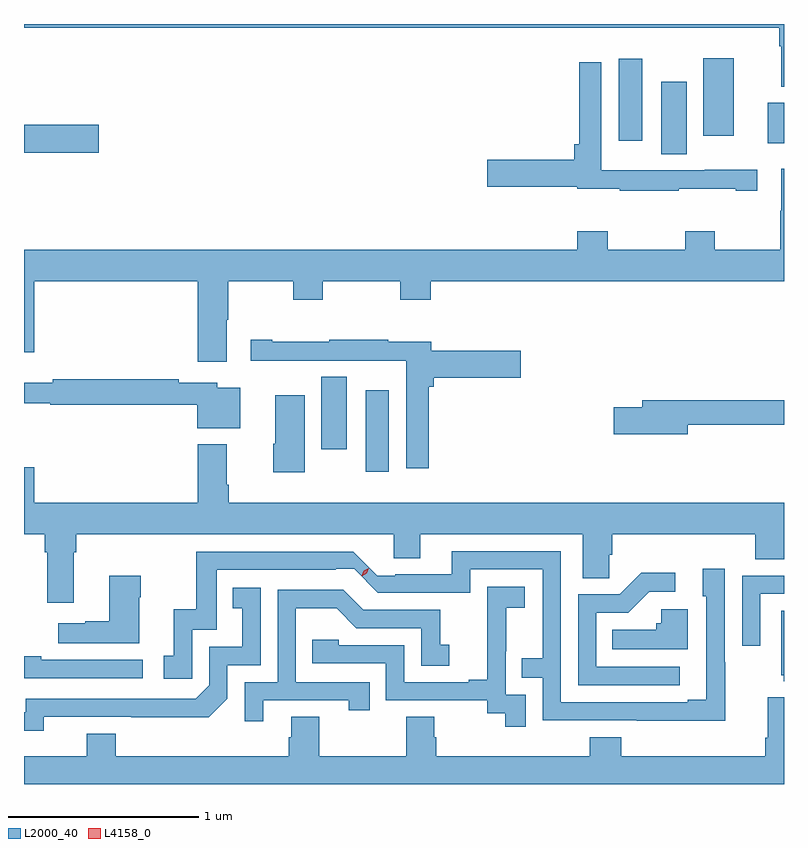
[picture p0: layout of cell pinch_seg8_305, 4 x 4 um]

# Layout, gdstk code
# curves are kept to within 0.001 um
import gdstk
lib = gdstk.Library(unit=1e-6, precision=1e-09)
def R(c, l, rs):  # rectangles x0, y0, x1, y1
    for r in rs: c.add(gdstk.rectangle(r[:2], r[2:], *l))
def P(c, l, *ps):  # polygons
    for p in ps: c.add(gdstk.Polygon(p, *l))
L2000_40 = (2000, 40)
L4158_0 = (4158, 0)

pinch_seg8_305 = lib.new_cell('pinch_seg8_305')
R(pinch_seg8_305, L2000_40, [(514.568,1131.48,514.69,1131.91), (514.334,1131.6,514.468,1131.98), (516.122,1133.152,516.256,1133.533), (512.769,1133.159,513.163,1133.306), (516.683,1133.21,516.769,1133.422), (515.9,1133.223,516.022,1133.653), (516.344,1133.25,516.505,1133.656)])
P(pinch_seg8_305, L2000_40, [(516.769,1133.837),(512.769,1133.837),(512.769,1133.816),(516.743,1133.816),(516.743,1133.72),(516.755,1133.72),(516.755,1133.507),(516.769,1133.507)],
  [(516.215,1132.969),(516.515,1132.969),(516.515,1132.959),(516.628,1132.959),(516.628,1133.069),(516.352,1133.069),(516.352,1133.067),(516.018,1133.067),(516.018,1133.068),(515.808,1133.068),(515.808,1133.635),(515.692,1133.635),(515.692,1133.203),(515.666,1133.203),(515.666,1133.123),(515.208,1133.123),(515.208,1132.981),(515.682,1132.981),(515.682,1132.969),(515.905,1132.969),(515.905,1132.959),(516.215,1132.959)],
  [(513.835,1132.28),(513.843,1132.28),(513.843,1132.484),(514.186,1132.484),(514.186,1132.385),(514.341,1132.385),(514.341,1132.484),(514.75,1132.484),(514.75,1132.385),(514.91,1132.385),(514.91,1132.484),(516.769,1132.484),(516.769,1133.074),(516.755,1133.074),(516.755,1132.853),(516.748,1132.853),(516.748,1132.648),(516.405,1132.648),(516.405,1132.747),(516.25,1132.747),(516.25,1132.648),(515.841,1132.648),(515.841,1132.747),(515.681,1132.747),(515.681,1132.648),(512.769,1132.648),(512.769,1132.11),(512.824,1132.11),(512.824,1132.484),(513.683,1132.484),(513.683,1132.059),(513.835,1132.059)],
  [(514.898,1131.929),(514.925,1131.929),(514.925,1131.974),(515.383,1131.974),(515.383,1132.116),(514.912,1132.116),(514.912,1132.164),(514.685,1132.164),(514.685,1132.174),(514.375,1132.174),(514.375,1132.164),(514.075,1132.164),(514.075,1132.174),(513.963,1132.174),(513.963,1132.064),(514.238,1132.064),(514.238,1132.065),(514.572,1132.065),(514.572,1132.064),(514.782,1132.064),(514.782,1131.498),(514.898,1131.498)],
  [(513.907,1131.922),(513.786,1131.922),(513.786,1131.948),(513.584,1131.948),(513.584,1131.968),(512.92,1131.968),(512.92,1131.949),(512.769,1131.949),(512.769,1131.84),(512.906,1131.84),(512.906,1131.832),(513.68,1131.832),(513.68,1131.71),(513.907,1131.71)],
  [(514.246,1131.883),(514.091,1131.883),(514.091,1131.627),(514.082,1131.627),(514.082,1131.477),(514.246,1131.477)],
  [(516.262,1131.729),(516.769,1131.729),(516.769,1131.857),(516.023,1131.857),(516.023,1131.821),(515.874,1131.821),(515.874,1131.679),(516.262,1131.679)],
  [(513.031,1131.056),(513.044,1131.056),(513.044,1131.152),(514.715,1131.152),(514.715,1131.025),(514.855,1131.025),(514.855,1131.152),(515.711,1131.152),(515.711,1130.92),(515.85,1130.92),(515.85,1131.043),(515.864,1131.043),(515.864,1131.152),(516.617,1131.152),(516.617,1131.019),(516.769,1131.019),(516.769,1131.316),(513.847,1131.316),(513.847,1131.412),(513.835,1131.412),(513.835,1131.625),(513.683,1131.625),(513.683,1131.316),(512.824,1131.316),(512.824,1131.505),(512.769,1131.505),(512.769,1131.152),(512.879,1131.152),(512.879,1131.056),(512.891,1131.056),(512.891,1130.79),(513.031,1130.79)],
  [(516.459,1130.477),(516.456,1130.477),(516.456,1130.971),(516.341,1130.971),(516.341,1130.826),(516.36,1130.826),(516.36,1130.281),(516.263,1130.281),(516.263,1130.268),(515.595,1130.268),(515.595,1131.063),(515.021,1131.063),(515.021,1130.94),(514.724,1130.94),(514.724,1130.934),(514.627,1130.934),(514.501,1131.06),(513.675,1131.06),(513.675,1130.758),(513.557,1130.758),(513.557,1130.511),(513.504,1130.511),(513.504,1130.391),(513.654,1130.391),(513.654,1130.649),(513.783,1130.649),(513.783,1130.964),(514.409,1130.964),(514.409,1130.97),(514.506,1130.97),(514.632,1130.844),(515.118,1130.844),(515.118,1130.967),(515.499,1130.967),(515.499,1130.498),(515.389,1130.498),(515.389,1130.397),(515.499,1130.397),(515.499,1130.172),(516.459,1130.171)],
  [(516.22,1130.454),(515.781,1130.454),(515.781,1130.739),(515.95,1130.739),(516.061,1130.85),(516.196,1130.85),(516.196,1130.948),(516.017,1130.948),(515.904,1130.835),(515.685,1130.835),(515.685,1130.358),(516.22,1130.358)],
  [(516.645,1130.838),(516.769,1130.838),(516.769,1130.934),(516.549,1130.934),(516.549,1130.565),(516.645,1130.565)],
  [(513.376,1130.819),(513.384,1130.819),(513.384,1130.932),(513.218,1130.932),(513.218,1130.693),(513.092,1130.693),(513.092,1130.683),(512.949,1130.683),(512.949,1130.579),(513.376,1130.579)],
  [(515.409,1130.307),(515.304,1130.307),(515.304,1130.537),(515.306,1130.537),(515.306,1130.765),(515.404,1130.765),(515.404,1130.875),(515.206,1130.875),(515.206,1130.669),(515.207,1130.669),(515.207,1130.386),(515.111,1130.386),(515.111,1130.373),(514.77,1130.373),(514.77,1130.568),(514.425,1130.568),(514.425,1130.595),(514.285,1130.595),(514.285,1130.472),(514.674,1130.472),(514.674,1130.277),(515.208,1130.277),(515.208,1130.209),(515.301,1130.209),(515.301,1130.139),(515.409,1130.139)],
  [(512.874,1130.19),(513.742,1130.189),(513.84,1130.286),(513.84,1130.463),(514.014,1130.463),(514.014,1130.869),(513.868,1130.869),(513.868,1130.763),(513.917,1130.763),(513.917,1130.559),(513.744,1130.559),(513.744,1130.358),(513.672,1130.286),(512.778,1130.286),(512.778,1130.214),(512.769,1130.214),(512.769,1130.117),(512.874,1130.117)],
  [(514.027,1130.277),(514.478,1130.277),(514.478,1130.226),(514.589,1130.226),(514.589,1130.373),(514.2,1130.373),(514.2,1130.762),(514.414,1130.762),(514.518,1130.658),(514.86,1130.658),(514.86,1130.46),(515.008,1130.46),(515.008,1130.569),(514.959,1130.569),(514.959,1130.754),(514.555,1130.754),(514.45,1130.859),(514.104,1130.859),(514.104,1130.373),(513.93,1130.373),(513.93,1130.166),(514.027,1130.166)],
  [(516.262,1130.758),(516.123,1130.758),(516.123,1130.682),(516.097,1130.682),(516.097,1130.65),(515.866,1130.65),(515.866,1130.546),(516.262,1130.546)],
  [(516.769,1130.749),(516.755,1130.749),(516.755,1130.409),(516.767,1130.409),(516.767,1130.378),(516.769,1130.378)],
  [(513.394,1130.49),(512.861,1130.49),(512.861,1130.51),(512.769,1130.51),(512.769,1130.394),(513.394,1130.394)],
  [(516.769,1130.293),(516.683,1130.293),(516.683,1130.08),(516.671,1130.08),(516.671,1129.984),(515.912,1129.984),(515.912,1130.083),(515.746,1130.083),(515.746,1129.984),(514.94,1129.984),(514.94,1130.082),(514.927,1130.082),(514.927,1130.192),(514.78,1130.192),(514.78,1129.984),(514.323,1129.984),(514.323,1130.192),(514.175,1130.192),(514.175,1130.082),(514.163,1130.082),(514.163,1129.984),(513.251,1129.984),(513.251,1130.101),(513.098,1130.101),(513.098,1129.984),(512.769,1129.984),(512.769,1129.837),(516.769,1129.837)])
P(pinch_seg8_305, L4158_0, [(514.546,1130.931),(514.546,1130.932),(514.558,1130.959),(514.584,1130.973),(514.584,1130.973),(514.584,1130.973),(514.573,1130.946),(514.547,1130.931)])

lib.write_gds('pinch_seg8_305.gds')
